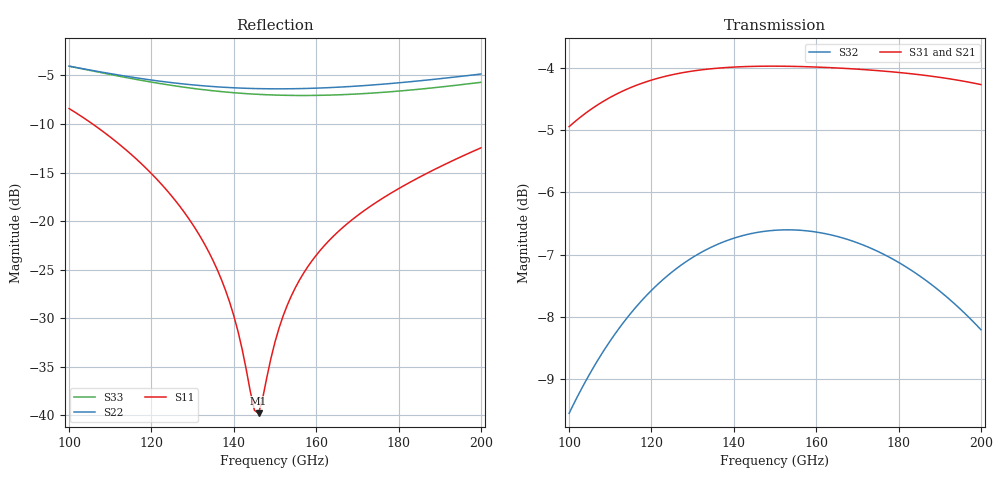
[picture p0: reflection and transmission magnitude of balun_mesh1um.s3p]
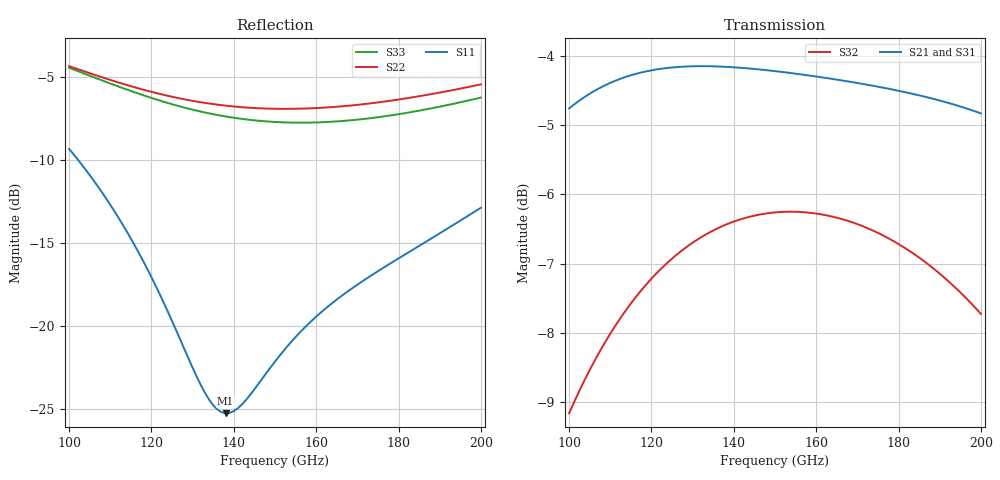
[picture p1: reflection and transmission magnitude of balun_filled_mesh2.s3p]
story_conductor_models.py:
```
#!/usr/bin/env python
"""Plot and numbers for README.md section "Conductor model": surface impedance (the mesh study above) vs. conductors meshed as
volumes: settings['conductor_model'] = 'solve_inside' and 'solve_inside_skin'.

Writes results/plots/story_conductor_models.png (insertion loss and |S11| vs. frequency, target band shaded) and prints
the numbers quoted in README.md. Reference: 'solve_inside_skin', 1 um mesh. DOF and GMRES iterations per
solve from the Palace output of each run.
"""
import os
import numpy as np
import matplotlib
matplotlib.use("Agg")
import matplotlib.pyplot as plt

import story_plots as S

BLUE = "#2a78d6"
RUNS = [  # label, Touchstone file, DOF, iterations per solve, color, line style
    ("surface impedance, 1 µm", "balun_mesh1um.s3p", 665874, None, BLUE, "-"),
    ("solve_inside, 2 µm", "balun_filled_mesh2.s3p", 408116, 32, S.ORANGE, "--"),
    ("solve_inside_skin, 2 µm", "balun_skin_mesh2.s3p", 741012, 37, S.AQUA, "--"),
    ("solve_inside_skin, 1 µm", "balun_skin_mesh1.s3p", 1663836, 29, S.INK, "-"),
]
TABLE = RUNS + [("solve_inside_skin, 3 µm", "balun_skin_mesh3.s3p", 487374, 50, None, None),
                ("solve_inside_skin, 5 µm", "balun_skin_mesh5.s3p", 342894, 68, None, None),
                ("surface impedance, 2 µm", "balun_mesh2um.s3p", 340226, None, None, None)]


def plot():
    fig, axes = plt.subplots(1, 2, figsize=(10, 3.9), sharex=True)
    for label, fname, _, _, color, ls in RUNS:
        ntw = S.load(fname)
        m = S.merits(ntw)
        axes[0].plot(ntw.f / 1e9, m["IL"], color=color, linestyle=ls, linewidth=2, label=label)
        axes[1].plot(ntw.f / 1e9, m["S11"], color=color, linestyle=ls, linewidth=2, label=label)
    for ax, title in zip(axes, ("Insertion loss (dB)", "Input match |S11| (dB)")):
        S.style(ax)
        ax.set_title(title, loc="left", fontsize=11, color=S.INK)
        ax.set_xlabel("Frequency (GHz)", color=S.INK2)
    axes[0].set_ylim(0.8, 1.8)
    axes[0].text(155, 0.97, "target band", transform=axes[0].get_xaxis_transform(), ha="center", fontsize=8, color=S.INK2)
    handles, labels = axes[0].get_legend_handles_labels()
    fig.legend(handles, labels, loc="upper center", ncol=3, frameon=False, fontsize=9)
    fig.tight_layout(rect=(0, 0, 1, 0.84))
    out = os.path.join(S.PLOT_DIR, "story_conductor_models.png")
    fig.savefig(out, dpi=130, facecolor="white")
    plt.close(fig)
    print("wrote", out)


def numbers():
    print(f"\nIn band {S.BAND[0] / 1e9:.0f}-{S.BAND[1] / 1e9:.0f} GHz")
    print(f"{'model':30s} {'DOF':>10s} {'it.':>4s} {'IL min..max':>12s} {'S11 max':>8s} {'S11 null':>9s} {'|amp| max':>9s} {'phase':>11s}")
    for label, fname, dof, it, _, _ in TABLE:
        ntw = S.load(fname)
        m = S.merits(ntw)
        b = (ntw.f >= S.BAND[0]) & (ntw.f <= S.BAND[1])
        print(f"{label:30s} {dof:10,d} {it if it else '-':>4} {m['IL'][b].min():5.2f}..{m['IL'][b].max():5.2f} "
              f"{m['S11'][b].max():8.1f} {ntw.f[np.argmin(m['S11'])] / 1e9:7.0f} G {np.abs(m['amp'][b]).max():9.2f} "
              f"{m['phase'][b].min():5.1f}..{m['phase'][b].max():4.1f}")


if __name__ == "__main__":
    plot()
    numbers()
```
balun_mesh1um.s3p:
! Created with skrf 2.1.0 (http://scikit-rf.org).
# GHz S DB R 50.0
! Port[1] = P1
! Port[2] = P2
! Port[3] = P3
!freq dBS11 angS11 dBS12 angS12 dBS13 angS13
! dBS21 angS21 dBS22 angS22 dBS23 angS23
! dBS31 angS31 dBS32 angS32 dBS33 angS33
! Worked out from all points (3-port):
!   101 points, 100 GHz to 200 GHz, reference 50 ohm
!   strongest paths, dB at 100 GHz, 125 GHz, 150 GHz, 175 GHz, 200 GHz:
!     S31: -4.9, -4.1, -4.0, -4.0, -4.3
!     S21: -4.7, -4.0, -4.0, -4.2, -4.7
!     S32: -9.6, -7.3, -6.6, -7.0, -8.2
!   lowest |S11| = -39.8 dB at 146 GHz (marker M1), VSWR 1.02, Z = 49 + j0.0201 ohm
!   |S11| at or under -10 dB: 105.7 GHz to end of sweep
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100  -8.41 129.7  -4.70 -11.2  -4.94 165.1
     -4.70 -11.2  -4.05 60.0  -9.55 90.9
     -4.94 165.1  -9.55 90.9  -4.05 50.1
131  -21.00 96.7  -3.97 -56.8  -4.04 116.8
     -3.97 -56.8  -6.01 34.3  -7.01 45.7
     -4.04 116.8  -7.01 45.7  -6.38 20.2
146  -39.79 178.9  -3.98 -76.1  -3.97 96.2
     -3.98 -76.1  -6.36 23.7  -6.64 26.3
     -3.97 96.2  -6.64 26.3  -6.95 8.7
161  -23.00 -117.9  -4.08 -94.4  -3.99 76.9
     -4.08 -94.4  -6.29 12.7  -6.65 8.0
     -3.99 76.9  -6.65 8.0  -7.05 -2.6
200  -12.46 -132.4  -4.69 -141.2  -4.27 27.6
     -4.69 -141.2  -4.85 -20.7  -8.21 -37.8
     -4.27 27.6  -8.21 -37.8  -5.71 -35.2
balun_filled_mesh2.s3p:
! Created with skrf 2.1.0 (http://scikit-rf.org).
# GHz S DB R 50.0
! Port[1] = P1
! Port[2] = P2
! Port[3] = P3
!freq dBS11 angS11 dBS12 angS12 dBS13 angS13
! dBS21 angS21 dBS22 angS22 dBS23 angS23
! dBS31 angS31 dBS32 angS32 dBS33 angS33
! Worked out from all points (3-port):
!   101 points, 100 GHz to 200 GHz, reference 50 ohm
!   strongest paths, dB at 100 GHz, 125 GHz, 150 GHz, 175 GHz, 200 GHz:
!     S21: -4.8, -4.2, -4.2, -4.4, -4.8
!     S31: -5.0, -4.3, -4.3, -4.4, -4.6
!     S32: -9.2, -6.9, -6.3, -6.6, -7.7
!   lowest |S11| = -25.3 dB at 138 GHz (marker M1), VSWR 1.12, Z = 44.9 + j1.09 ohm
!   |S11| at or under -10 dB: 102.2 GHz to end of sweep
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100  -9.33 132.4  -4.76 -11.6  -4.99 165.0
     -4.76 -11.6  -4.34 60.4  -9.17 91.7
     -4.99 165.0  -9.17 91.7  -4.43 49.8
117  -15.64 118.9  -4.24 -37.5  -4.40 137.5
     -4.24 -37.5  -5.69 45.2  -7.43 65.9
     -4.40 137.5  -7.43 65.9  -6.01 32.1
138  -25.29 167.1  -4.15 -65.6  -4.24 107.4
     -4.15 -65.6  -6.72 29.5  -6.44 37.3
     -4.24 107.4  -6.44 37.3  -7.37 14.7
167  -18.05 -143.0  -4.36 -100.1  -4.34 70.6
     -4.36 -100.1  -6.74 7.9  -6.37 2.0
     -4.34 70.6  -6.37 2.0  -7.63 -7.1
200  -12.88 -142.5  -4.83 -138.4  -4.61 30.0
     -4.83 -138.4  -5.44 -21.0  -7.73 -36.4
     -4.61 30.0  -7.73 -36.4  -6.24 -35.2
